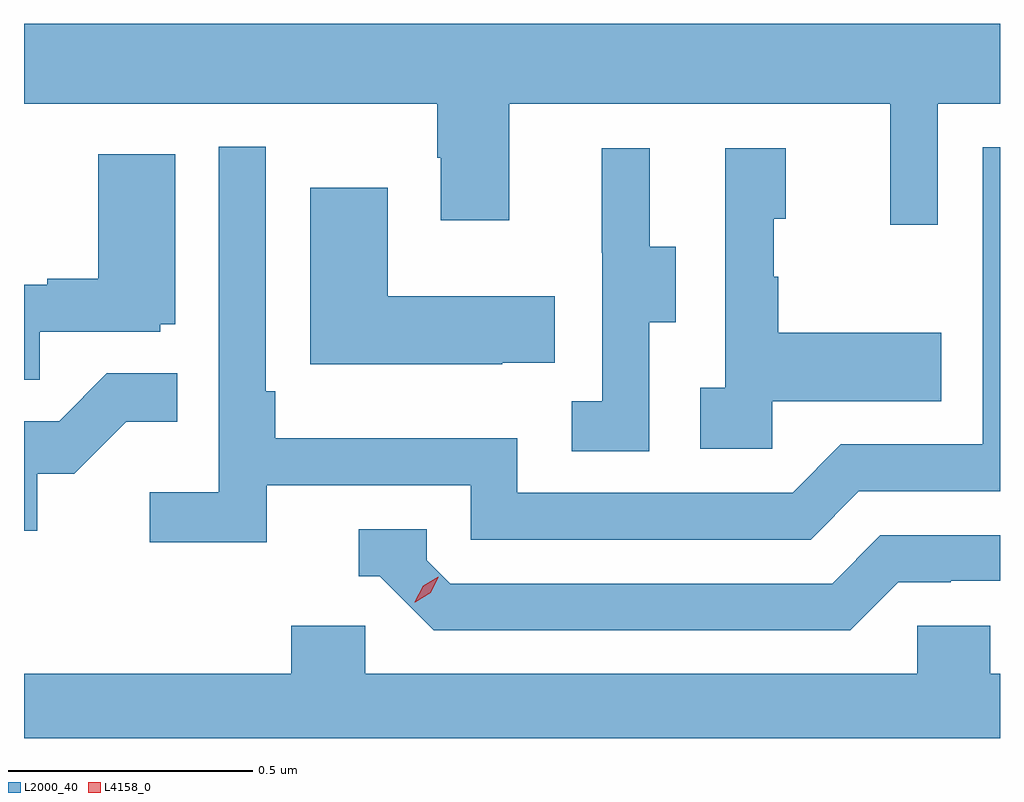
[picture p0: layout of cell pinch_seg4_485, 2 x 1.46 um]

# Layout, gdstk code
import gdstk
lib = gdstk.Library(unit=1e-6, precision=1e-09)
def P(c, l, *ps):  # polygons
    for p in ps: c.add(gdstk.Polygon(p, *l))
L2000_40 = (2000, 40)
L4158_0 = (4158, 0)

pinch_seg4_485 = lib.new_cell('pinch_seg4_485')
P(pinch_seg4_485, L2000_40, [(904.335,750.2),(904.463,750.2),(904.463,750.364),(902.463,750.364),(902.463,750.2),(903.31,750.2),(903.31,750.089),(903.317,750.089),(903.317,749.961),(903.457,749.961),(903.457,750.2),(904.238,750.2),(904.238,749.952),(904.335,749.952)],
  [(902.96,749.418),(903.378,749.418),(903.378,749.307),(904.075,749.307),(904.174,749.406),(904.463,749.406),(904.463,750.111),(904.428,750.111),(904.428,749.502),(904.137,749.502),(904.038,749.403),(903.474,749.403),(903.474,749.515),(902.978,749.515),(902.978,749.611),(902.958,749.611),(902.958,750.112),(902.862,750.112),(902.862,749.404),(902.721,749.404),(902.721,749.302),(902.96,749.302)],
  [(903.744,749.752),(903.799,749.752),(903.799,749.907),(903.745,749.907),(903.745,750.109),(903.647,750.109),(903.647,749.895),(903.648,749.895),(903.648,749.591),(903.585,749.591),(903.585,749.488),(903.744,749.488)],
  [(903.996,749.591),(904.343,749.591),(904.343,749.731),(904.009,749.731),(904.009,749.846),(903.999,749.846),(903.999,749.964),(904.024,749.964),(904.024,750.109),(903.9,750.109),(903.9,749.618),(903.849,749.618),(903.849,749.493),(903.996,749.493)],
  [(902.495,749.733),(902.742,749.733),(902.742,749.748),(902.773,749.748),(902.773,750.097),(902.615,750.097),(902.615,749.842),(902.511,749.842),(902.511,749.829),(902.463,749.829),(902.463,749.635),(902.495,749.635)],
  [(903.443,749.669),(903.551,749.669),(903.551,749.806),(903.208,749.806),(903.208,750.028),(903.05,750.028),(903.05,749.666),(903.443,749.666)],
  [(902.49,749.442),(902.566,749.442),(902.673,749.549),(902.777,749.549),(902.777,749.648),(902.633,749.648),(902.535,749.55),(902.463,749.55),(902.463,749.325),(902.49,749.325)],
  [(904.255,749.22),(904.362,749.22),(904.362,749.223),(904.463,749.223),(904.463,749.316),(904.218,749.316),(904.119,749.217),(903.336,749.217),(903.288,749.265),(903.288,749.328),(903.149,749.328),(903.149,749.232),(903.192,749.232),(903.303,749.121),(904.156,749.121)],
  [(904.463,749.032),(904.443,749.032),(904.443,749.13),(904.293,749.13),(904.293,749.032),(903.162,749.032),(903.162,749.13),(903.011,749.13),(903.011,749.032),(902.463,749.032),(902.463,748.9),(904.463,748.9)])
P(pinch_seg4_485, L4158_0, [(903.264,749.179),(903.264,749.18),(903.281,749.212),(903.312,749.231),(903.312,749.231),(903.312,749.23),(903.296,749.198),(903.265,749.179)])

lib.write_gds('pinch_seg4_485.gds')
